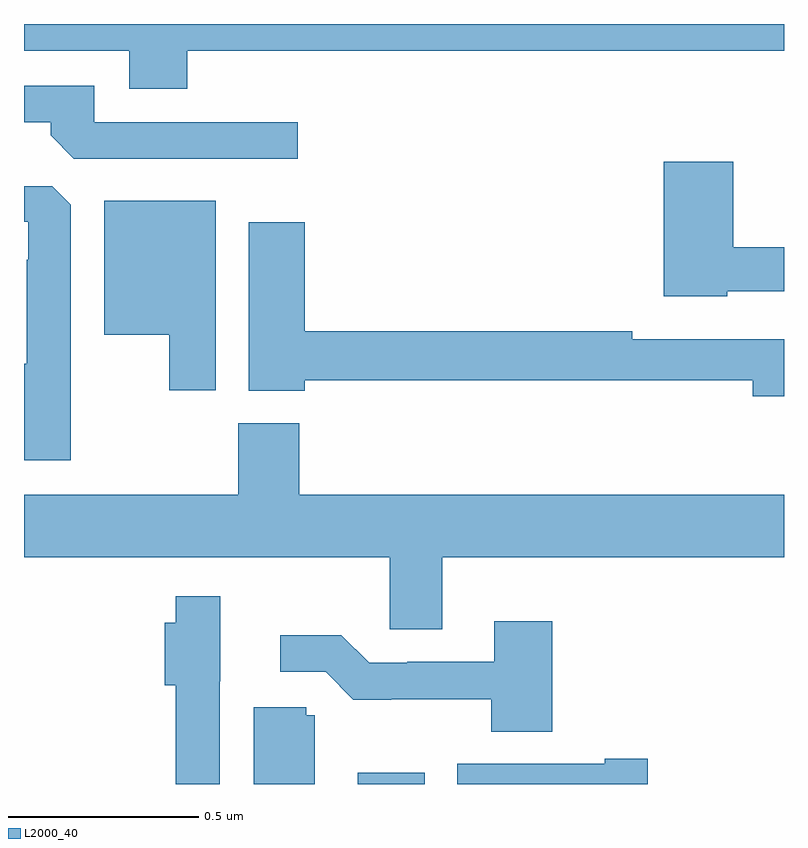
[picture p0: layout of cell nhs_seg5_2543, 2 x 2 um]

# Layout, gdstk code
import gdstk
lib = gdstk.Library(unit=1e-6, precision=1e-09)
def R(c, l, rs):  # rectangles x0, y0, x1, y1
    for r in rs: c.add(gdstk.rectangle(r[:2], r[2:], *l))
def P(c, l, *ps):  # polygons
    for p in ps: c.add(gdstk.Polygon(p, *l))
L2000_40 = (2000, 40)

nhs_seg5_2543 = lib.new_cell('nhs_seg5_2543')
R(nhs_seg5_2543, L2000_40, [(145.878,886.799,146.055,886.828)])
P(nhs_seg5_2543, L2000_40, [(145.43,888.728),(147,888.728),(147,888.799),(145,888.799),(145,888.728),(145.277,888.728),(145.277,888.629),(145.43,888.629)],
  [(145.72,888.54),(145.185,888.54),(145.185,888.636),(145,888.636),(145,888.54),(145.07,888.54),(145.07,888.506),(145.131,888.444),(145.72,888.444)],
  [(146.85,888.096),(147,888.096),(147,888.212),(146.867,888.212),(146.867,888.436),(146.684,888.436),(146.684,888.083),(146.85,888.083)],
  [(145.123,888.323),(145.074,888.372),(145,888.372),(145,888.279),(145.011,888.279),(145.011,888.179),(145.007,888.179),(145.007,887.905),(145,887.905),(145,887.651),(145.123,887.651)],
  [(145.504,888.334),(145.211,888.334),(145.211,887.981),(145.382,887.981),(145.382,887.835),(145.504,887.835)],
  [(147,887.97),(146.6,887.97),(146.6,887.99),(145.739,887.99),(145.739,888.277),(145.592,888.277),(145.592,887.834),(145.739,887.834),(145.739,887.862),(146.918,887.862),(146.918,887.819),(147,887.819)],
  [(146.101,887.396),(147,887.396),(147,887.56),(145.724,887.56),(145.724,887.749),(145.564,887.749),(145.564,887.56),(145,887.56),(145,887.396),(145.962,887.396),(145.962,887.206),(146.101,887.206)],
  [(145.515,887.07),(145.516,887.07),(145.516,887.293),(145.399,887.293),(145.399,887.224),(145.37,887.224),(145.37,887.059),(145.399,887.059),(145.399,886.799),(145.515,886.799)],
  [(146.39,887.227),(146.237,887.227),(146.237,887.121),(146.008,887.121),(146.008,887.118),(145.908,887.118),(145.835,887.191),(145.674,887.191),(145.674,887.094),(145.794,887.094),(145.867,887.021),(145.966,887.021),(145.966,887.022),(146.23,887.022),(146.23,886.937),(146.39,886.937)],
  [(145.765,886.98),(145.743,886.98),(145.743,887.001),(145.604,887.001),(145.604,886.799),(145.765,886.799)],
  [(146.641,886.865),(146.528,886.865),(146.528,886.852),(146.14,886.852),(146.14,886.799),(146.641,886.799)])

lib.write_gds('nhs_seg5_2543.gds')
